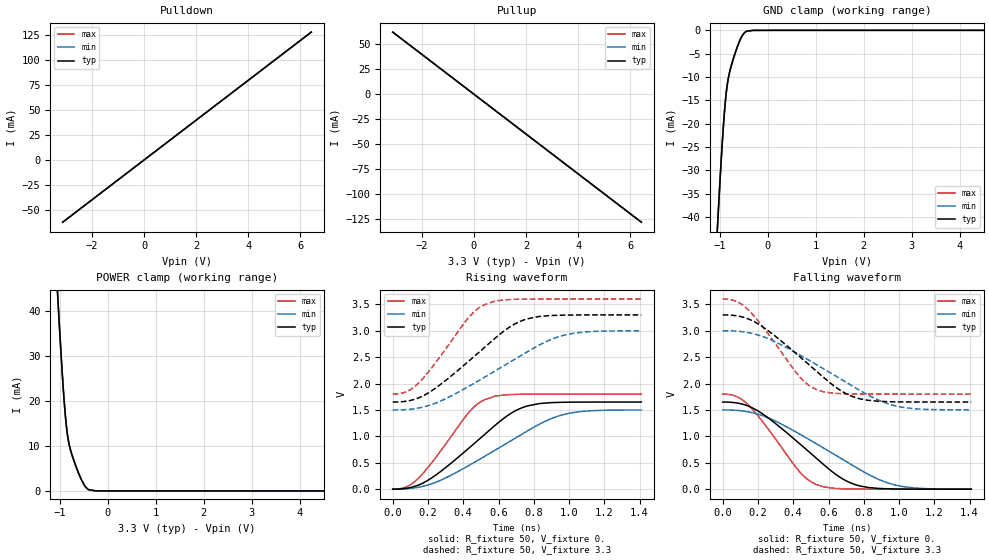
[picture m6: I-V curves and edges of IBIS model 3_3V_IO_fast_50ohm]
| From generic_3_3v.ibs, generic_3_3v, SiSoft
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[Model] 3_3V_IO_fast_50ohm
|SiSoft Include 3_3v.inc
Model_type I/O
|SiSoft Include 3_3v.inc
|C_comp_off 3.002p 2.502p 3.502p
|C_comp_on 3.002p 2.502p 3.502p
C_comp 3.002p 2.502p 3.502p
|SiSoft Rth_i 358.696K 375.001K 346.155K
|SiSoft Rth_r 50.004 50.004 50.005
|SiSoft Rth_f 49.996 49.996 49.995
Vinh = 2
Vinl = 0.8
Cref = 0
Vref = 1.65
Rref = 50
Vmeas = 1.65
|SiSoft spice_param TT Voh 3.3
|SiSoft spice_param SS Voh 3
|SiSoft spice_param FF Voh 3.6
|SiSoft spice_param ALL Vol 0
|SiSoft spice_param ALL R_SERIES 50
|SiSoft spice_param ALL RTERM_IN 1MEG
|SiSoft spice_param TT C_COMP 3pF
|SiSoft spice_param SS C_COMP 3.5pF
|SiSoft spice_param FF C_COMP 2.5pF
|SiSoft spice all testbed.mod tech_io_33
|SiSoft stimulus_rise_time 0.75n 1.0n 0.5n
[Temperature_Range] 25 100 0
[Voltage Range] 3.3 3. 3.6
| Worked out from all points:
|   slope of the pulldown table from 0 to 0.495 V, typ, clamps not added: 50 ohm
|   slope of the pullup table from 0 to 0.495 V, typ, clamps not added: 50 ohm
|   GND clamp passes 1 mA (typ) near -0.52 V on its own axis
|   POWER clamp passes 1 mA (typ) near -0.47 V on its own axis
|   rising waveform, R_fixture 50, V_fixture 0.: 20-80 % time 352ps typ, 463ps min, 241ps max; typ from 0 V to 1.65 V
|   rising waveform, R_fixture 50, V_fixture 3.3: 20-80 % time 352ps typ, 463ps min, 241ps max; typ from 1.65 V to 3.3 V
|   falling waveform, R_fixture 50, V_fixture 0.: 20-80 % time 352ps typ, 463ps min, 241ps max; typ from 1.65 V to 0 V
|   falling waveform, R_fixture 50, V_fixture 3.3: 20-80 % time 352ps typ, 463ps min, 241ps max; typ from 3.3 V to 1.65 V
[Pulldown]
-3.13V    -62.59mA   -62.59mA   -62.59mA
6.334V    126.7mA    126.7mA    126.7mA
6.344V    126.9mA    126.9mA    126.9mA
6.421V    128.4mA    128.4mA    128.4mA
[Pullup]
-3.121V   62.42mA    62.42mA    62.43mA
-2.822V   56.43mA    56.43mA    56.43mA
6.111V    -122.2mA   -122.2mA   -122.2mA
6.43V     -128.6mA   -128.6mA   -128.6mA
[GND Clamp]
-3.13V    -504.2mA   -504.2mA   -504.2mA
-1.046V   -41.42mA   -41.42mA   -41.42mA
-980.9mV  -29.33mA   -29.33mA   -29.33mA
-930mV    -21.03mA   -21.03mA   -21.03mA
-886.5mV  -15.34mA   -15.33mA   -15.34mA
-842.9mV  -11.46mA   -11.46mA   -11.46mA
-813.9mV  -9.757mA   -9.757mA   -9.756mA
-777.6mV  -8.167mA   -8.167mA   -8.167mA
-639.7mV  -3.634mA   -3.635mA   -3.634mA
-530.8mV  -1.098mA   -1.101mA   -1.098mA
-443.7mV  -197.8uA   -197.8uA   -200.3uA
6.421V    0A         0A         0A
[Power Clamp]
-3.13V    500.3mA    500.3mA    500.3mA
-1.047V   43.55mA    43.55mA    43.56mA
-1.035V   41.4mA     41.39mA    41.4mA
-967.9mV  29.04mA    29.04mA    29.04mA
-922.8mV  21.74mA    21.74mA    21.74mA
-877.8mV  15.81mA    15.81mA    15.82mA
-832.8mV  11.81mA    11.81mA    11.81mA
-765.2mV  8.6mA      8.599mA    8.601mA
-618.8mV  4.172mA    4.171mA    4.173mA
-495mV    1.369mA    1.367mA    1.37mA
-404.9mV  297.1uA    294.3uA    299.3uA
6.43V     0A         0A         0A
[Ramp]
dV/dt_r .99/351.658p .9/463.494p 1.08/241.176p
dV/dt_f .99/351.658p .9/463.496p 1.08/241.176p
[Rising Waveform]
R_fixture = 50
V_fixture = 0.
0s        50.03uV    50.03uV    50.03uV
80ps      17.23mV    7.939mV    47.59mV
140ps     69.74mV    32.53mV    188.3mV
240ps     256.7mV    124.9mV    580.9mV
420ps     742.6mV    425.9mV    1.406V
520ps     1.032V     618.8mV    1.692V
660ps     1.413V     895.8mV    1.79V
770ps     1.58V      1.115V     1.798V
1ns       1.647V     1.437V     1.8V
1.41ns    1.65V      1.499V     1.8V
[Rising Waveform]
R_fixture = 50
V_fixture = 3.3
V_fixture_min = 3.
V_fixture_max = 3.6
0s        1.65V      1.5V       1.8V
80ps      1.667V     1.508V     1.847V
140ps     1.72V      1.532V     1.988V
240ps     1.907V     1.625V     2.381V
420ps     2.392V     1.926V     3.206V
520ps     2.682V     2.119V     3.492V
660ps     3.063V     2.396V     3.589V
770ps     3.23V      2.615V     3.598V
1ns       3.297V     2.937V     3.6V
1.41ns    3.3V       2.999V     3.6V
[Falling Waveform]
R_fixture = 50
V_fixture = 0.
0s        1.65V      1.5V       1.8V
80ps      1.633V     1.492V     1.752V
140ps     1.58V      1.467V     1.612V
260ps     1.345V     1.348V     1.13V
440ps     850mV      1.036V     314.9mV
530ps     588.9mV    861.5mV    89.14mV
660ps     237mV      604.2mV    10.93mV
780ps     59.58mV    365.6mV    1.377mV
1.03ns    1.964mV    45.04mV    66.95uV
1.41ns    58.91uV    538.1uV    50.05uV
[Falling Waveform]
R_fixture = 50
V_fixture = 3.3
V_fixture_min = 3.
V_fixture_max = 3.6
0s        3.3V       3V         3.6V
80ps      3.283V     2.992V     3.552V
140ps     3.23V      2.967V     3.412V
260ps     2.995V     2.848V     2.93V
440ps     2.5V       2.536V     2.115V
530ps     2.239V     2.361V     1.889V
660ps     1.887V     2.104V     1.811V
780ps     1.709V     1.865V     1.801V
1.03ns    1.652V     1.545V     1.8V
1.41ns    1.65V      1.5V       1.8V
